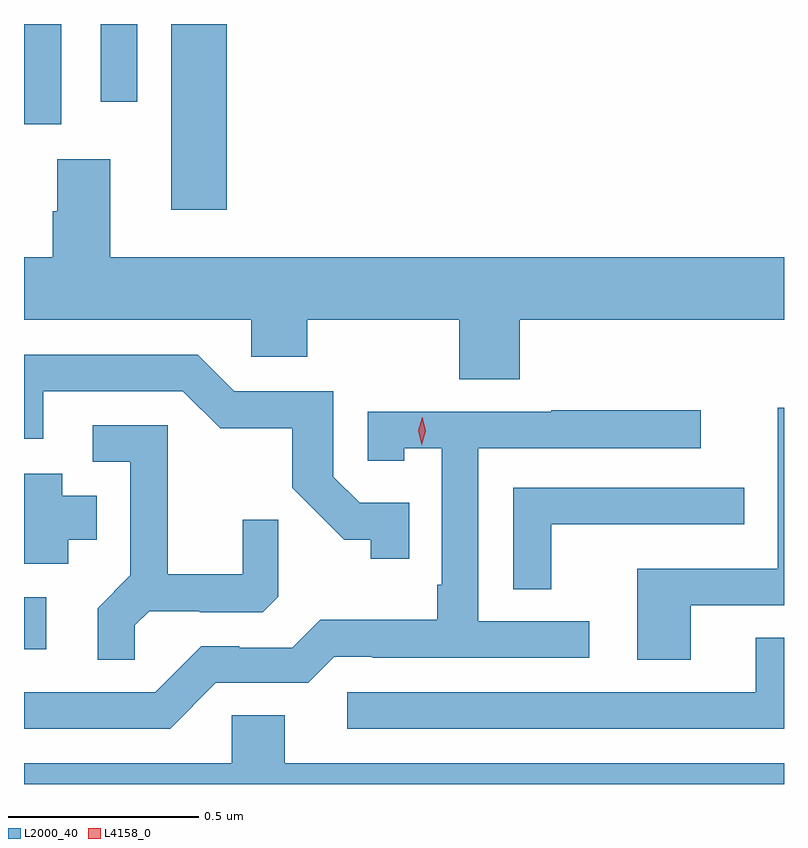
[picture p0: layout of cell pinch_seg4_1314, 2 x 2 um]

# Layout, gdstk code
import gdstk
lib = gdstk.Library(unit=1e-6, precision=1e-09)
def R(c, l, rs):  # rectangles x0, y0, x1, y1
    for r in rs: c.add(gdstk.rectangle(r[:2], r[2:], *l))
def P(c, l, *ps):  # polygons
    for p in ps: c.add(gdstk.Polygon(p, *l))
L2000_40 = (2000, 40)
L4158_0 = (4158, 0)

pinch_seg4_1314 = lib.new_cell('pinch_seg4_1314')
R(pinch_seg4_1314, L2000_40, [(362.099,781.301,362.158,781.437), (362.486,782.457,362.633,782.946), (362.099,782.682,362.197,782.946), (362.301,782.742,362.397,782.946)])
P(pinch_seg4_1314, L2000_40, [(363.404,782.168),(364.099,782.168),(364.099,782.332),(362.326,782.332),(362.326,782.59),(362.186,782.59),(362.186,782.453),(362.174,782.453),(362.174,782.332),(362.099,782.332),(362.099,782.168),(362.697,782.168),(362.697,782.07),(362.844,782.07),(362.844,782.168),(363.244,782.168),(363.244,782.011),(363.404,782.011)],
  [(363.113,781.686),(362.982,781.686),(362.913,781.755),(362.913,781.98),(362.652,781.98),(362.556,782.076),(362.099,782.076),(362.099,781.854),(362.149,781.854),(362.149,781.98),(362.517,781.98),(362.616,781.882),(362.805,781.882),(362.805,781.726),(362.942,781.589),(363.012,781.589),(363.012,781.539),(363.113,781.539)],
  [(363.853,781.416),(364.099,781.416),(364.099,781.936),(364.083,781.936),(364.083,781.512),(363.713,781.512),(363.713,781.273),(363.853,781.273)],
  [(362.604,781.212),(362.847,781.212),(362.916,781.281),(363.016,781.281),(363.016,781.278),(363.586,781.278),(363.586,781.374),(363.294,781.374),(363.294,781.83),(363.88,781.83),(363.88,781.929),(363.487,781.929),(363.487,781.926),(363.003,781.926),(363.003,781.797),(363.099,781.797),(363.099,781.829),(363.198,781.829),(363.198,781.471),(363.186,781.471),(363.186,781.378),(362.878,781.378),(362.805,781.305),(362.666,781.305),(362.666,781.308),(362.565,781.308),(362.445,781.188),(362.099,781.188),(362.099,781.092),(362.484,781.092)],
  [(362.391,781.364),(362.428,781.401),(362.562,781.401),(362.562,781.398),(362.727,781.398),(362.768,781.439),(362.768,781.641),(362.674,781.641),(362.674,781.498),(362.477,781.498),(362.477,781.89),(362.28,781.89),(362.28,781.794),(362.379,781.794),(362.379,781.495),(362.293,781.409),(362.293,781.273),(362.391,781.273)],
  [(362.215,781.589),(362.29,781.589),(362.29,781.705),(362.2,781.705),(362.2,781.762),(362.099,781.762),(362.099,781.526),(362.215,781.526)],
  [(363.486,781.629),(363.881,781.629),(363.881,781.63),(363.994,781.63),(363.994,781.725),(363.387,781.725),(363.387,781.459),(363.486,781.459)],
  [(364.099,781.331),(364.025,781.331),(364.025,781.188),(362.949,781.188),(362.949,781.092),(364.099,781.092)],
  [(364.099,781),(362.785,781),(362.785,781.127),(362.646,781.127),(362.646,781),(362.099,781),(362.099,780.946),(364.099,780.946)])
P(pinch_seg4_1314, L4158_0, [(363.146,781.838),(363.146,781.839),(363.136,781.875),(363.147,781.911),(363.147,781.911),(363.147,781.911),(363.156,781.875),(363.146,781.839)])

lib.write_gds('pinch_seg4_1314.gds')
